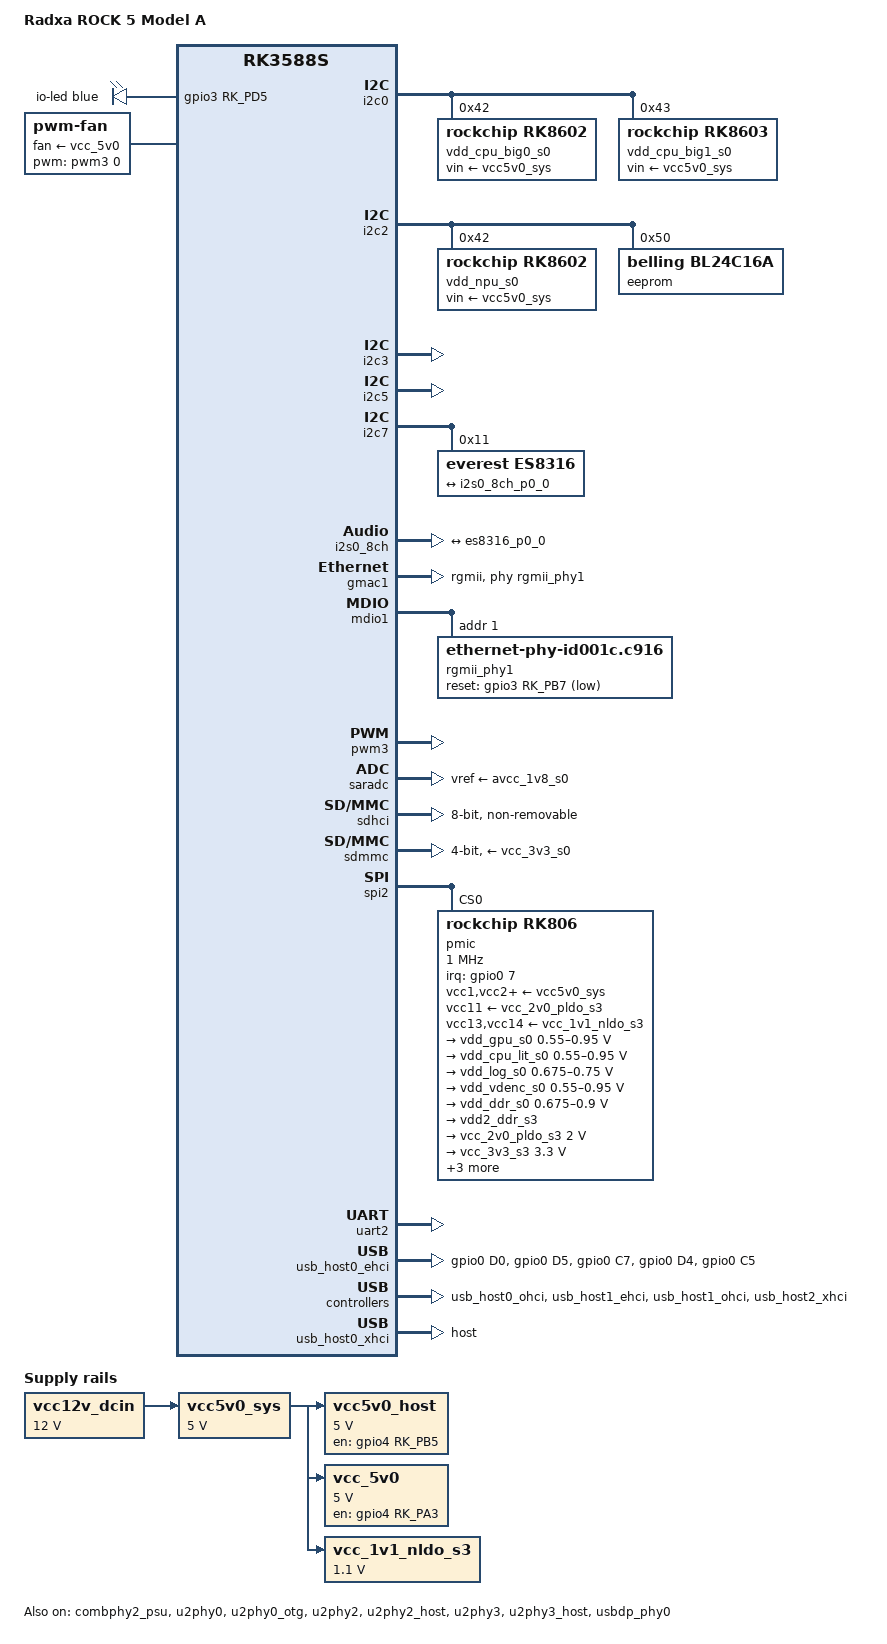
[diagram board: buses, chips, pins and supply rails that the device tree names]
// SPDX-License-Identifier: (GPL-2.0+ OR MIT)

/dts-v1/;

#include <dt-bindings/gpio/gpio.h>
#include <dt-bindings/leds/common.h>
#include <dt-bindings/pinctrl/rockchip.h>
#include "rk3588s.dtsi"

/ {
	model = "Radxa ROCK 5 Model A";
	compatible = "radxa,rock-5a", "rockchip,rk3588s";

	aliases {
		ethernet0 = &gmac1;
		mmc0 = &sdhci;
		mmc1 = &sdmmc;
	};

	analog-sound {
		compatible = "audio-graph-card";
		label = "rk3588-es8316";

		widgets = "Microphone", "Mic Jack",
			  "Headphone", "Headphones";

		routing = "MIC2", "Mic Jack",
			  "Headphones", "HPOL",
			  "Headphones", "HPOR";

		dais = <&i2s0_8ch_p0>;
	};

	chosen {
		stdout-path = "serial2:1500000n8";
	};

	leds {
		compatible = "gpio-leds";
		pinctrl-names = "default";
		pinctrl-0 = <&io_led>;

		io-led {
			color = <LED_COLOR_ID_BLUE>;
			function = LED_FUNCTION_STATUS;
			gpios = <&gpio3 RK_PD5 GPIO_ACTIVE_HIGH>;
			linux,default-trigger = "heartbeat";
		};
	};

	fan: pwm-fan {
		compatible = "pwm-fan";
		cooling-levels = <0 95 145 195 255>;
		fan-supply = <&vcc_5v0>;
		pwms = <&pwm3 0 50000 0>;
		#cooling-cells = <2>;
	};

	vcc12v_dcin: vcc12v-dcin-regulator {
		compatible = "regulator-fixed";
		regulator-name = "vcc12v_dcin";
		regulator-always-on;
		regulator-boot-on;
		regulator-min-microvolt = <12000000>;
		regulator-max-microvolt = <12000000>;
	};

	vcc5v0_host: vcc5v0-host-regulator {
		compatible = "regulator-fixed";
		regulator-name = "vcc5v0_host";
		regulator-boot-on;
		regulator-always-on;
		regulator-min-microvolt = <5000000>;
		regulator-max-microvolt = <5000000>;
		enable-active-high;
		gpio = <&gpio4 RK_PB5 GPIO_ACTIVE_HIGH>;
		pinctrl-names = "default";
		pinctrl-0 = <&vcc5v0_host_en>;
		vin-supply = <&vcc5v0_sys>;
	};

	vcc5v0_sys: vcc5v0-sys-regulator {
		compatible = "regulator-fixed";
		regulator-name = "vcc5v0_sys";
		regulator-always-on;
		regulator-boot-on;
		regulator-min-microvolt = <5000000>;
		regulator-max-microvolt = <5000000>;
		vin-supply = <&vcc12v_dcin>;
	};

	vcc_5v0: vcc-5v0-regulator {
		compatible = "regulator-fixed";
		regulator-name = "vcc_5v0";
		regulator-min-microvolt = <5000000>;
		regulator-max-microvolt = <5000000>;
		regulator-boot-on;
		regulator-always-on;
		enable-active-high;
		gpio = <&gpio4 RK_PA3 GPIO_ACTIVE_HIGH>;
		pinctrl-names = "default";
		pinctrl-0 = <&vcc_5v0_en>;
		vin-supply = <&vcc5v0_sys>;
	};

	vcc_1v1_nldo_s3: vcc-1v1-nldo-s3-regulator {
		compatible = "regulator-fixed";
		regulator-name = "vcc_1v1_nldo_s3";
		regulator-always-on;
		regulator-boot-on;
		regulator-min-microvolt = <1100000>;
		regulator-max-microvolt = <1100000>;
		vin-supply = <&vcc5v0_sys>;
	};
};

&combphy2_psu {
	status = "okay";
};

&cpu_b0 {
	cpu-supply = <&vdd_cpu_big0_s0>;
};

&cpu_b1 {
	cpu-supply = <&vdd_cpu_big0_s0>;
};

&cpu_b2 {
	cpu-supply = <&vdd_cpu_big1_s0>;
};

&cpu_b3 {
	cpu-supply = <&vdd_cpu_big1_s0>;
};

&cpu_l0 {
	cpu-supply = <&vdd_cpu_lit_s0>;
};

&cpu_l1 {
	cpu-supply = <&vdd_cpu_lit_s0>;
};

&cpu_l2 {
	cpu-supply = <&vdd_cpu_lit_s0>;
};

&cpu_l3 {
	cpu-supply = <&vdd_cpu_lit_s0>;
};

&i2c0 {
	pinctrl-names = "default";
	pinctrl-0 = <&i2c0m2_xfer>;
	status = "okay";

	vdd_cpu_big0_s0: regulator@42 {
		compatible = "rockchip,rk8602";
		reg = <0x42>;
		fcs,suspend-voltage-selector = <1>;
		regulator-name = "vdd_cpu_big0_s0";
		regulator-always-on;
		regulator-boot-on;
		regulator-min-microvolt = <550000>;
		regulator-max-microvolt = <1050000>;
		regulator-ramp-delay = <2300>;
		vin-supply = <&vcc5v0_sys>;

		regulator-state-mem {
			regulator-off-in-suspend;
		};
	};

	vdd_cpu_big1_s0: regulator@43 {
		compatible = "rockchip,rk8603", "rockchip,rk8602";
		reg = <0x43>;
		fcs,suspend-voltage-selector = <1>;
		regulator-name = "vdd_cpu_big1_s0";
		regulator-always-on;
		regulator-boot-on;
		regulator-min-microvolt = <550000>;
		regulator-max-microvolt = <1050000>;
		regulator-ramp-delay = <2300>;
		vin-supply = <&vcc5v0_sys>;

		regulator-state-mem {
			regulator-off-in-suspend;
		};
	};
};

&i2c2 {
	status = "okay";

	vdd_npu_s0: regulator@42 {
		compatible = "rockchip,rk8602";
		reg = <0x42>;
		fcs,suspend-voltage-selector = <1>;
		regulator-name = "vdd_npu_s0";
		regulator-always-on;
		regulator-boot-on;
		regulator-min-microvolt = <550000>;
		regulator-max-microvolt = <950000>;
		regulator-ramp-delay = <2300>;
		vin-supply = <&vcc5v0_sys>;

		regulator-state-mem {
			regulator-off-in-suspend;
		};
	};

	eeprom: eeprom@50 {
		compatible = "belling,bl24c16a", "atmel,24c16";
		reg = <0x50>;
		pagesize = <16>;
	};
};

&i2c3 {
	status = "okay";
};

&i2c5 {
	status = "okay";
	pinctrl-names = "default";
	pinctrl-0 = <&i2c5m2_xfer>;
};

&i2c7 {
	status = "okay";

	es8316: audio-codec@11 {
		compatible = "everest,es8316";
		reg = <0x11>;
		clocks = <&cru I2S0_8CH_MCLKOUT>;
		clock-names = "mclk";
		assigned-clocks = <&cru I2S0_8CH_MCLKOUT>;
		assigned-clock-rates = <12288000>;
		#sound-dai-cells = <0>;

		port {
			es8316_p0_0: endpoint {
				remote-endpoint = <&i2s0_8ch_p0_0>;
			};
		};
	};
};

&i2s0_8ch {
	pinctrl-names = "default";
	pinctrl-0 = <&i2s0_lrck
		     &i2s0_mclk
		     &i2s0_sclk
		     &i2s0_sdi0
		     &i2s0_sdo0>;
	status = "okay";

	i2s0_8ch_p0: port {
		i2s0_8ch_p0_0: endpoint {
			dai-format = "i2s";
			mclk-fs = <256>;
			remote-endpoint = <&es8316_p0_0>;
		};
	};
};

&gmac1 {
	clock_in_out = "output";
	phy-handle = <&rgmii_phy1>;
	phy-mode = "rgmii";
	pinctrl-0 = <&gmac1_miim
		     &gmac1_tx_bus2
		     &gmac1_rx_bus2
		     &gmac1_rgmii_clk
		     &gmac1_rgmii_bus>;
	pinctrl-names = "default";
	tx_delay = <0x3a>;
	rx_delay = <0x3e>;
	status = "okay";
};

&mdio1 {
	rgmii_phy1: ethernet-phy@1 {
		/* RTL8211F */
		compatible = "ethernet-phy-id001c.c916";
		reg = <0x1>;
		pinctrl-names = "default";
		pinctrl-0 = <&rtl8211f_rst>;
		reset-assert-us = <20000>;
		reset-deassert-us = <100000>;
		reset-gpios = <&gpio3 RK_PB7 GPIO_ACTIVE_LOW>;
	};
};

&pinctrl {
	leds {
		io_led: io-led {
			rockchip,pins = <3 RK_PD5 RK_FUNC_GPIO &pcfg_pull_none>;
		};
	};

	power {
		vcc_5v0_en: vcc-5v0-en {
			rockchip,pins = <4 RK_PA3 RK_FUNC_GPIO &pcfg_pull_none>;
		};
	};

	rtl8211f {
		rtl8211f_rst: rtl8211f-rst {
			rockchip,pins = <3 RK_PB7 RK_FUNC_GPIO &pcfg_pull_none>;
		};
	};

	usb {
		vcc5v0_host_en: vcc5v0-host-en {
			rockchip,pins = <4 RK_PB5 RK_FUNC_GPIO &pcfg_pull_none>;
		};
	};

	wifibt {
		wl_reset: wl-reset {
			rockchip,pins = <0 RK_PD0 RK_FUNC_GPIO &pcfg_pull_up>;
		};

		wl_dis: wl-dis {
			rockchip,pins = <0 RK_PD5 RK_FUNC_GPIO &pcfg_output_high>;
		};

		wl_wake_host: wl-wake-host {
			rockchip,pins = <0 RK_PC7 RK_FUNC_GPIO &pcfg_pull_up>;
		};

		bt_dis: bt-dis {
			rockchip,pins = <0 RK_PD4 RK_FUNC_GPIO &pcfg_output_high>;
		};

		bt_wake_host: bt-wake-host {
			rockchip,pins = <0 RK_PC5 RK_FUNC_GPIO &pcfg_pull_up>;
		};
	};
};

&pwm3 {
	pinctrl-names = "default";
	pinctrl-0 = <&pwm3m1_pins>;
	status = "okay";
};

&saradc {
	vref-supply = <&avcc_1v8_s0>;
	status = "okay";
};

&sdhci {
	bus-width = <8>;
	no-sdio;
	no-sd;
	non-removable;
	mmc-hs400-1_8v;
	mmc-hs400-enhanced-strobe;
	status = "okay";
};

&sdmmc {
	bus-width = <4>;
	cap-mmc-highspeed;
	cap-sd-highspeed;
	disable-wp;
	max-frequency = <150000000>;
	no-sdio;
	no-mmc;
	sd-uhs-sdr104;
	vmmc-supply = <&vcc_3v3_s0>;
	vqmmc-supply = <&vccio_sd_s0>;
	status = "okay";
};

&spi2 {
	status = "okay";
	assigned-clocks = <&cru CLK_SPI2>;
	assigned-clock-rates = <200000000>;
	num-cs = <1>;
	pinctrl-names = "default";
	pinctrl-0 = <&spi2m2_cs0 &spi2m2_pins>;

	pmic@0 {
		compatible = "rockchip,rk806";
		reg = <0x0>;
		interrupt-parent = <&gpio0>;
		interrupts = <7 IRQ_TYPE_LEVEL_LOW>;
		pinctrl-names = "default";
		pinctrl-0 = <&pmic_pins>, <&rk806_dvs1_null>,
			    <&rk806_dvs2_null>, <&rk806_dvs3_null>;
		spi-max-frequency = <1000000>;

		vcc1-supply = <&vcc5v0_sys>;
		vcc2-supply = <&vcc5v0_sys>;
		vcc3-supply = <&vcc5v0_sys>;
		vcc4-supply = <&vcc5v0_sys>;
		vcc5-supply = <&vcc5v0_sys>;
		vcc6-supply = <&vcc5v0_sys>;
		vcc7-supply = <&vcc5v0_sys>;
		vcc8-supply = <&vcc5v0_sys>;
		vcc9-supply = <&vcc5v0_sys>;
		vcc10-supply = <&vcc5v0_sys>;
		vcc11-supply = <&vcc_2v0_pldo_s3>;
		vcc12-supply = <&vcc5v0_sys>;
		vcc13-supply = <&vcc_1v1_nldo_s3>;
		vcc14-supply = <&vcc_1v1_nldo_s3>;
		vcca-supply = <&vcc5v0_sys>;

		gpio-controller;
		#gpio-cells = <2>;

		rk806_dvs1_null: dvs1-null-pins {
			pins = "gpio_pwrctrl2";
			function = "pin_fun0";
		};

		rk806_dvs2_null: dvs2-null-pins {
			pins = "gpio_pwrctrl2";
			function = "pin_fun0";
		};

		rk806_dvs3_null: dvs3-null-pins {
			pins = "gpio_pwrctrl3";
			function = "pin_fun0";
		};

		regulators {
			vdd_gpu_s0: vdd_gpu_mem_s0: dcdc-reg1 {
				regulator-name = "vdd_gpu_s0";
				regulator-boot-on;
				regulator-min-microvolt = <550000>;
				regulator-max-microvolt = <950000>;
				regulator-ramp-delay = <12500>;
				regulator-enable-ramp-delay = <400>;

				regulator-state-mem {
					regulator-off-in-suspend;
				};
			};

			vdd_cpu_lit_s0: vdd_cpu_lit_mem_s0: dcdc-reg2 {
				regulator-name = "vdd_cpu_lit_s0";
				regulator-always-on;
				regulator-boot-on;
				regulator-min-microvolt = <550000>;
				regulator-max-microvolt = <950000>;
				regulator-ramp-delay = <12500>;

				regulator-state-mem {
					regulator-off-in-suspend;
				};
			};

			vdd_log_s0: dcdc-reg3 {
				regulator-name = "vdd_log_s0";
				regulator-always-on;
				regulator-boot-on;
				regulator-min-microvolt = <675000>;
				regulator-max-microvolt = <750000>;
				regulator-ramp-delay = <12500>;

				regulator-state-mem {
					regulator-off-in-suspend;
					regulator-suspend-microvolt = <750000>;
				};
			};

			vdd_vdenc_s0: vdd_vdenc_mem_s0: dcdc-reg4 {
				regulator-name = "vdd_vdenc_s0";
				regulator-always-on;
				regulator-boot-on;
				regulator-min-microvolt = <550000>;
				regulator-max-microvolt = <950000>;
				regulator-ramp-delay = <12500>;

				regulator-state-mem {
					regulator-off-in-suspend;
				};
			};

			vdd_ddr_s0: dcdc-reg5 {
				regulator-name = "vdd_ddr_s0";
				regulator-always-on;
				regulator-boot-on;
				regulator-min-microvolt = <675000>;
				regulator-max-microvolt = <900000>;
				regulator-ramp-delay = <12500>;

				regulator-state-mem {
					regulator-off-in-suspend;
					regulator-suspend-microvolt = <850000>;
				};
			};

			vdd2_ddr_s3: dcdc-reg6 {
				regulator-name = "vdd2_ddr_s3";
				regulator-always-on;
				regulator-boot-on;

				regulator-state-mem {
					regulator-on-in-suspend;
				};
			};

			vcc_2v0_pldo_s3: dcdc-reg7 {
				regulator-name = "vdd_2v0_pldo_s3";
				regulator-always-on;
				regulator-boot-on;
				regulator-min-microvolt = <2000000>;
				regulator-max-microvolt = <2000000>;
				regulator-ramp-delay = <12500>;

				regulator-state-mem {
					regulator-on-in-suspend;
					regulator-suspend-microvolt = <2000000>;
				};
			};

			vcc_3v3_s3: dcdc-reg8 {
				regulator-name = "vcc_3v3_s3";
				regulator-always-on;
				regulator-boot-on;
				regulator-min-microvolt = <3300000>;
				regulator-max-microvolt = <3300000>;

				regulator-state-mem {
					regulator-on-in-suspend;
					regulator-suspend-microvolt = <3300000>;
				};
			};

			vddq_ddr_s0: dcdc-reg9 {
				regulator-name = "vddq_ddr_s0";
				regulator-always-on;
				regulator-boot-on;

				regulator-state-mem {
					regulator-off-in-suspend;
				};
			};

			vcc_1v8_s3: dcdc-reg10 {
				regulator-name = "vcc_1v8_s3";
				regulator-always-on;
				regulator-boot-on;
				regulator-min-microvolt = <1800000>;
				regulator-max-microvolt = <1800000>;

				regulator-state-mem {
					regulator-on-in-suspend;
					regulator-suspend-microvolt = <1800000>;
				};
			};

			avcc_1v8_s0: pldo-reg1 {
				regulator-name = "avcc_1v8_s0";
				regulator-always-on;
				regulator-boot-on;
				regulator-min-microvolt = <1800000>;
				regulator-max-microvolt = <1800000>;

				regulator-state-mem {
					regulator-off-in-suspend;
				};
			};

			vcc_1v8_s0: pldo-reg2 {
				regulator-name = "vcc_1v8_s0";
				regulator-always-on;
				regulator-boot-on;
				regulator-min-microvolt = <1800000>;
				regulator-max-microvolt = <1800000>;

				regulator-state-mem {
					regulator-off-in-suspend;
					regulator-suspend-microvolt = <1800000>;
				};
			};

			avdd_1v2_s0: pldo-reg3 {
				regulator-name = "avdd_1v2_s0";
				regulator-always-on;
				regulator-boot-on;
				regulator-min-microvolt = <1200000>;
				regulator-max-microvolt = <1200000>;

				regulator-state-mem {
					regulator-off-in-suspend;
				};
			};

			vcc_3v3_s0: pldo-reg4 {
				regulator-name = "vcc_3v3_s0";
				regulator-always-on;
				regulator-boot-on;
				regulator-min-microvolt = <3300000>;
				regulator-max-microvolt = <3300000>;
				regulator-ramp-delay = <12500>;

				regulator-state-mem {
					regulator-off-in-suspend;
				};
			};

			vccio_sd_s0: pldo-reg5 {
				regulator-name = "vccio_sd_s0";
				regulator-always-on;
				regulator-boot-on;
				regulator-min-microvolt = <1800000>;
				regulator-max-microvolt = <3300000>;
				regulator-ramp-delay = <12500>;

				regulator-state-mem {
					regulator-off-in-suspend;
				};
			};

			pldo6_s3: pldo-reg6 {
				regulator-name = "pldo6_s3";
				regulator-always-on;
				regulator-boot-on;
				regulator-min-microvolt = <1800000>;
				regulator-max-microvolt = <1800000>;

				regulator-state-mem {
					regulator-on-in-suspend;
					regulator-suspend-microvolt = <1800000>;
				};
			};

			vdd_0v75_s3: nldo-reg1 {
				regulator-name = "vdd_0v75_s3";
				regulator-always-on;
				regulator-boot-on;
				regulator-min-microvolt = <750000>;
				regulator-max-microvolt = <750000>;

				regulator-state-mem {
					regulator-on-in-suspend;
					regulator-suspend-microvolt = <750000>;
				};
			};

			vdd_ddr_pll_s0: nldo-reg2 {
				regulator-name = "vdd_ddr_pll_s0";
				regulator-always-on;
				regulator-boot-on;
				regulator-min-microvolt = <850000>;
				regulator-max-microvolt = <850000>;

				regulator-state-mem {
					regulator-off-in-suspend;
					regulator-suspend-microvolt = <850000>;
				};
			};

			avdd_0v75_s0: nldo-reg3 {
				regulator-name = "avdd_0v75_s0";
				regulator-always-on;
				regulator-boot-on;
				regulator-min-microvolt = <750000>;
				regulator-max-microvolt = <750000>;

				regulator-state-mem {
					regulator-off-in-suspend;
				};
			};

			vdd_0v85_s0: nldo-reg4 {
				regulator-name = "vdd_0v85_s0";
				regulator-always-on;
				regulator-boot-on;
				regulator-min-microvolt = <850000>;
				regulator-max-microvolt = <850000>;

				regulator-state-mem {
					regulator-off-in-suspend;
				};
			};

			vdd_0v75_s0: nldo-reg5 {
				regulator-name = "vdd_0v75_s0";
				regulator-always-on;
				regulator-boot-on;
				regulator-min-microvolt = <750000>;
				regulator-max-microvolt = <750000>;

				regulator-state-mem {
					regulator-off-in-suspend;
				};
			};
		};
	};
};

&u2phy0 {
	status = "okay";
};

&u2phy0_otg {
	status = "okay";
};

&u2phy2 {
	status = "okay";
};

&u2phy2_host {
	status = "okay";
	phy-supply = <&vcc5v0_host>;
};

&u2phy3 {
	status = "okay";
};

&u2phy3_host {
	phy-supply = <&vcc5v0_host>;
	status = "okay";
};

&uart2 {
	pinctrl-0 = <&uart2m0_xfer>;
	status = "okay";
};

&usbdp_phy0 {
	status = "okay";
	rockchip,dp-lane-mux = <2 3>;
};

&usb_host0_ehci {
	status = "okay";
	pinctrl-names = "default";
	pinctrl-0 = <&wl_reset &wl_dis &wl_wake_host &bt_dis &bt_wake_host>;
};

&usb_host0_ohci {
	status = "okay";
};

&usb_host0_xhci {
	dr_mode = "host";
	status = "okay";
};

&usb_host1_ehci {
	status = "okay";
};

&usb_host1_ohci {
	status = "okay";
};

&usb_host2_xhci {
	status = "okay";
};
